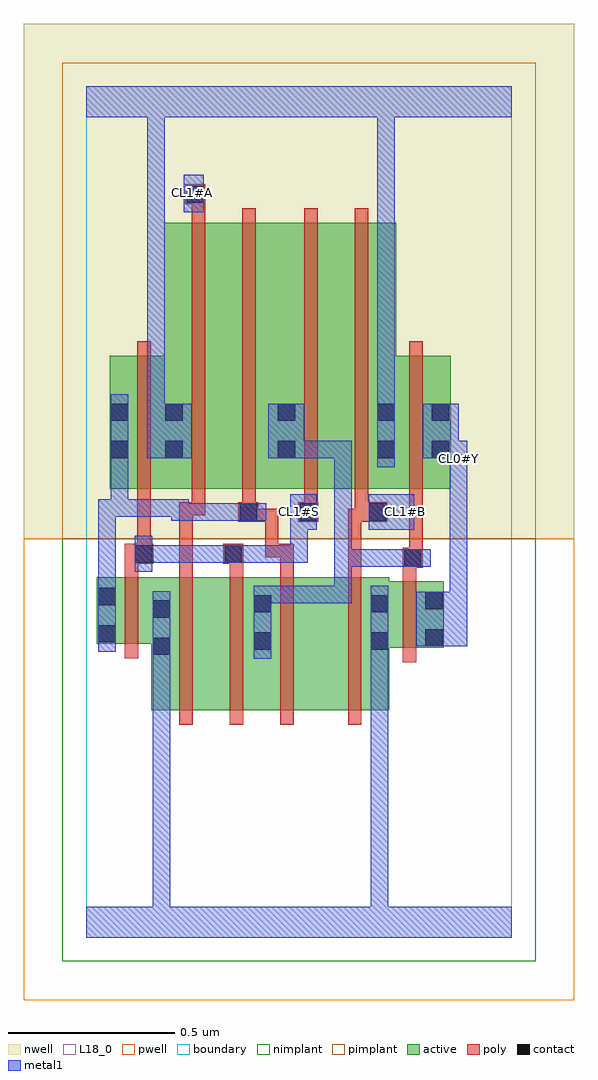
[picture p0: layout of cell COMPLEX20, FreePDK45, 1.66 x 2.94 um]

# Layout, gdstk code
import gdstk
lib = gdstk.Library(unit=1e-6, precision=1e-09)
def R(c, l, rs):  # rectangles x0, y0, x1, y1
    for r in rs: c.add(gdstk.rectangle(r[:2], r[2:], *l))
def A(c, l, x, y, w, h, nx, ny, dx, dy):  # array of equal rectangles
    R(c, l, [(x+i*dx, y+j*dy, x+i*dx+w, y+j*dy+h) for i in range(nx) for j in range(ny)])
active = (1, 0)
pwell = (2, 0)
nwell = (3, 0)
nimplant = (4, 0)
pimplant = (5, 0)
poly = (9, 0)
contact = (10, 0)
metal1 = (11, 0)
L18_0 = (18, 0)
boundary = (235, 0)

complex20 = lib.new_cell('COMPLEX20')
R(complex20, active, [(0.196,0.684,0.376,1.084), (0.196,0.684,0.256,1.018), (0.376,0.684,0.56,1.084), (0.5,0.684,0.68,1.084), (0.68,0.684,0.912,1.084), (0.852,0.684,0.912,1.034), (0.5,0.756,0.56,1.034), (0.852,0.872,1.076,1.072), (1.016,0.872,1.076,1.072), (0.032,0.884,0.092,1.084), (0.032,0.884,0.256,1.084), (0.07,1.35,0.13,1.644), (0.07,1.35,0.294,1.75), (0.234,1.35,0.414,2.15), (0.234,1.35,0.294,1.672), (0.414,1.35,0.632,2.15), (0.572,1.35,0.752,2.15), (0.572,1.35,0.632,2.044), (0.752,1.35,0.932,2.15), (0.872,1.35,1.096,1.75), (0.872,1.35,0.932,1.662), (1.036,1.35,1.096,1.644)])
R(complex20, pwell, [(-0.188,-0.188,1.468,1.2)])
R(complex20, nwell, [(-0.188,1.2,1.468,2.748)])
R(complex20, nimplant, [(-0.072,-0.072,1.352,1.2)])
R(complex20, pimplant, [(-0.072,1.2,1.352,2.632)])
A(complex20, poly, 0.28, 0.64, 0.04, 0.488, 3, 1, 0.152, 0)
R(complex20, poly, [(0.788,0.64,0.828,1.128), (0.952,0.828,0.992,1.116), (0.116,0.84,0.156,1.128), (0.952,1.076,0.992,1.152), (0.116,1.088,0.156,1.164), (0.28,1.088,0.32,1.31), (0.432,1.088,0.472,1.164), (0.584,1.088,0.624,1.184), (0.788,1.088,0.828,1.29), (0.952,1.112,1.012,1.172), (0.116,1.124,0.202,1.184), (0.412,1.124,0.472,1.184), (0.972,1.132,1.012,1.346), (0.972,1.132,1.012,1.172), (0.972,1.132,1.012,1.172), (0.154,1.144,0.194,1.184), (0.154,1.144,0.194,1.184), (0.154,1.144,0.194,1.346), (0.538,1.144,0.578,1.184), (0.538,1.144,0.624,1.184), (0.538,1.144,0.578,1.29), (0.584,1.144,0.624,1.184), (0.458,1.25,0.518,1.31), (0.478,1.25,0.578,1.29), (0.538,1.25,0.578,1.29), (0.638,1.25,0.698,1.31), (0.788,1.25,0.848,1.29), (0.808,1.25,0.848,1.29), (0.808,1.25,0.906,1.31), (0.28,1.27,0.336,1.31), (0.296,1.27,0.336,1.31), (0.296,1.27,0.358,1.31), (0.318,1.27,0.358,1.346), (0.47,1.27,0.51,1.346), (0.656,1.27,0.696,1.346), (0.808,1.27,0.848,1.346), (0.154,1.306,0.194,1.794), (0.318,1.306,0.358,2.194), (0.47,1.306,0.51,2.194), (0.656,1.306,0.696,2.194), (0.808,1.306,0.848,2.194), (0.972,1.306,1.012,1.794), (0.318,2.154,0.358,2.246), (0.298,2.206,0.358,2.266)])
R(complex20, contact, [(0.2,0.85,0.252,0.902), (0.504,0.866,0.556,0.918), (0.856,0.866,0.908,0.918), (1.02,0.876,1.072,0.928), (0.036,0.888,0.088,0.94), (0.2,0.962,0.252,1.014), (0.504,0.978,0.556,1.03), (0.856,0.978,0.908,1.03), (1.02,0.988,1.072,1.04), (0.036,1,0.088,1.052), (0.956,1.116,1.008,1.168), (0.146,1.128,0.198,1.18), (0.416,1.128,0.468,1.18), (0.462,1.254,0.514,1.306), (0.642,1.254,0.694,1.306), (0.85,1.254,0.902,1.306), (0.074,1.442,0.126,1.494), (0.238,1.442,0.29,1.494), (0.576,1.442,0.628,1.494), (0.876,1.442,0.928,1.494), (1.04,1.442,1.092,1.494), (0.074,1.554,0.126,1.606), (0.238,1.554,0.29,1.606), (0.576,1.554,0.628,1.606), (0.876,1.554,0.928,1.606), (1.04,1.554,1.092,1.606), (0.302,2.21,0.354,2.262)])
R(complex20, metal1, [(0,0,1.28,0.092), (0.2,0.04,0.252,0.092), (0.2,0.04,0.252,0.092), (0.2,0.04,0.252,0.092), (0.2,0.04,0.252,0.092), (0.2,0.04,0.252,0.092), (0.2,0.04,0.252,0.092), (0.2,0.04,0.252,0.092), (0.2,0.04,0.252,0.092), (0.2,0.04,0.252,0.092), (0.2,0.04,0.252,0.092), (0.2,0.04,0.252,0.092), (0.2,0.04,0.252,0.092), (0.2,0.04,0.252,0.874), (0.856,0.04,0.908,0.092), (0.856,0.04,0.908,0.092), (0.856,0.04,0.908,0.092), (0.856,0.04,0.908,0.092), (0.856,0.04,0.908,0.092), (0.856,0.04,0.908,0.092), (0.856,0.04,0.908,0.092), (0.856,0.04,0.908,0.092), (0.856,0.04,0.908,0.092), (0.856,0.04,0.908,0.092), (0.856,0.04,0.908,0.092), (0.856,0.04,0.908,0.092), (0.856,0.04,0.908,0.89), (0.2,0.822,0.252,1.042), (0.504,0.838,0.556,1.058), (0.856,0.838,0.908,1.058), (0.036,0.86,0.088,1.08), (0.992,0.876,1.146,1.04), (1.094,0.988,1.146,1.438), (0.504,1.006,0.76,1.058), (0.708,1.006,0.76,1.058), (0.708,1.006,0.798,1.058), (0.746,1.006,0.798,1.058), (0.746,1.006,0.798,1.168), (0.036,1.028,0.088,1.08), (0.036,1.028,0.088,1.08), (0.036,1.028,0.088,1.318), (0.146,1.1,0.198,1.208), (0.746,1.116,0.798,1.168), (0.746,1.116,0.87,1.168), (0.746,1.116,0.798,1.494), (0.818,1.116,0.87,1.168), (0.818,1.116,0.934,1.168), (0.882,1.116,0.934,1.168), (0.882,1.116,0.98,1.168), (0.928,1.116,1.036,1.168), (0.146,1.128,0.308,1.18), (0.256,1.128,0.308,1.18), (0.256,1.128,0.308,1.18), (0.256,1.128,0.308,1.18), (0.256,1.128,0.44,1.18), (0.388,1.128,0.44,1.18), (0.388,1.128,0.44,1.18), (0.388,1.128,0.496,1.18), (0.444,1.128,0.666,1.18), (0.614,1.128,0.666,1.18), (0.614,1.128,0.666,1.278), (0.614,1.226,0.666,1.278), (0.614,1.226,0.666,1.278), (0.614,1.226,0.694,1.334), (0.85,1.226,0.986,1.334), (0.256,1.254,0.418,1.306), (0.256,1.254,0.308,1.318), (0.366,1.254,0.418,1.306), (0.366,1.254,0.486,1.306), (0.434,1.254,0.542,1.306), (0.036,1.266,0.126,1.318), (0.074,1.266,0.126,1.318), (0.074,1.266,0.126,1.318), (0.074,1.266,0.308,1.318), (0.074,1.266,0.126,1.466), (0.256,1.266,0.308,1.318), (0.256,1.266,0.308,1.318), (1.094,1.386,1.146,1.494), (0.074,1.414,0.126,1.634), (0.876,1.414,0.928,1.634), (0.184,1.442,0.318,1.606), (0.548,1.442,0.656,1.606), (0.604,1.442,0.656,1.494), (0.604,1.442,0.656,1.494), (0.604,1.442,0.798,1.494), (0.746,1.442,0.798,1.494), (0.746,1.442,0.798,1.494), (0.746,1.442,0.798,1.494), (1.012,1.442,1.12,1.606), (1.068,1.442,1.12,1.494), (1.068,1.442,1.146,1.494), (1.094,1.442,1.146,1.494), (0.184,1.554,0.236,1.606), (0.184,1.554,0.236,1.606), (0.184,1.554,0.236,1.606), (0.184,1.554,0.236,1.606), (0.184,1.554,0.236,2.52), (0.876,1.582,0.928,1.634), (0.876,1.582,0.928,1.634), (0.876,1.582,0.928,1.634), (0.876,1.582,0.928,1.634), (0.876,1.582,0.928,2.52), (0.294,2.182,0.354,2.294), (0,2.468,1.28,2.56), (0.184,2.468,0.236,2.52), (0.184,2.468,0.236,2.52), (0.184,2.468,0.236,2.52), (0.184,2.468,0.236,2.52), (0.876,2.468,0.928,2.52), (0.876,2.468,0.928,2.52), (0.876,2.468,0.928,2.52), (0.876,2.468,0.928,2.52)])
R(complex20, L18_0, [(0,0,1.28,0.092), (0.2,0.04,0.252,0.092), (0.2,0.04,0.252,0.092), (0.2,0.04,0.252,0.092), (0.2,0.04,0.252,0.092), (0.2,0.04,0.252,0.092), (0.2,0.04,0.252,0.092), (0.2,0.04,0.252,0.092), (0.2,0.04,0.252,0.092), (0.2,0.04,0.252,0.092), (0.2,0.04,0.252,0.092), (0.2,0.04,0.252,0.092), (0.2,0.04,0.252,0.092), (0.2,0.04,0.252,0.874), (0.856,0.04,0.908,0.092), (0.856,0.04,0.908,0.092), (0.856,0.04,0.908,0.092), (0.856,0.04,0.908,0.092), (0.856,0.04,0.908,0.092), (0.856,0.04,0.908,0.092), (0.856,0.04,0.908,0.092), (0.856,0.04,0.908,0.092), (0.856,0.04,0.908,0.092), (0.856,0.04,0.908,0.092), (0.856,0.04,0.908,0.092), (0.856,0.04,0.908,0.092), (0.856,0.04,0.908,0.89), (0.2,0.822,0.252,1.042), (0.856,0.838,0.908,1.058), (0.992,0.876,1.146,1.04), (1.094,0.988,1.146,1.438), (0.146,1.1,0.198,1.208), (0.146,1.128,0.308,1.18), (0.256,1.128,0.308,1.18), (0.256,1.128,0.308,1.18), (0.256,1.128,0.308,1.18), (0.256,1.128,0.44,1.18), (0.388,1.128,0.44,1.18), (0.388,1.128,0.44,1.18), (0.388,1.128,0.496,1.18), (0.444,1.128,0.666,1.18), (0.614,1.128,0.666,1.18), (0.614,1.128,0.666,1.278), (0.614,1.226,0.666,1.278), (0.614,1.226,0.666,1.278), (0.614,1.226,0.694,1.334), (0.85,1.226,0.986,1.334), (0.614,1.254,0.666,1.306), (0.934,1.254,0.986,1.306), (1.094,1.386,1.146,1.494), (0.876,1.414,0.928,1.634), (1.094,1.414,1.146,1.466), (0.184,1.442,0.318,1.606), (1.012,1.442,1.12,1.606), (1.068,1.442,1.12,1.494), (1.068,1.442,1.146,1.494), (1.094,1.442,1.146,1.494), (0.184,1.554,0.236,1.606), (0.184,1.554,0.236,1.606), (0.184,1.554,0.236,1.606), (0.184,1.554,0.236,1.606), (0.184,1.554,0.236,2.52), (0.876,1.582,0.928,1.634), (0.876,1.582,0.928,1.634), (0.876,1.582,0.928,1.634), (0.876,1.582,0.928,1.634), (0.876,1.582,0.928,2.52), (0.294,2.182,0.354,2.294), (0.294,2.214,0.346,2.266), (0,2.468,1.28,2.56), (0.184,2.468,0.236,2.52), (0.184,2.468,0.236,2.52), (0.184,2.468,0.236,2.52), (0.184,2.468,0.236,2.52), (0.876,2.468,0.928,2.52), (0.876,2.468,0.928,2.52), (0.876,2.468,0.928,2.52), (0.876,2.468,0.928,2.52)])
R(complex20, boundary, [(0,0,1.28,2.56)])
complex20.add(gdstk.Label('CL0#Y', (1.12,1.44), layer=11, texttype=0))
complex20.add(gdstk.Label('CL1#A', (0.32,2.24), layer=11, texttype=0))
complex20.add(gdstk.Label('CL1#B', (0.96,1.28), layer=11, texttype=0))
complex20.add(gdstk.Label('CL1#S', (0.64,1.28), layer=11, texttype=0))

lib.write_gds('COMPLEX20.gds')
